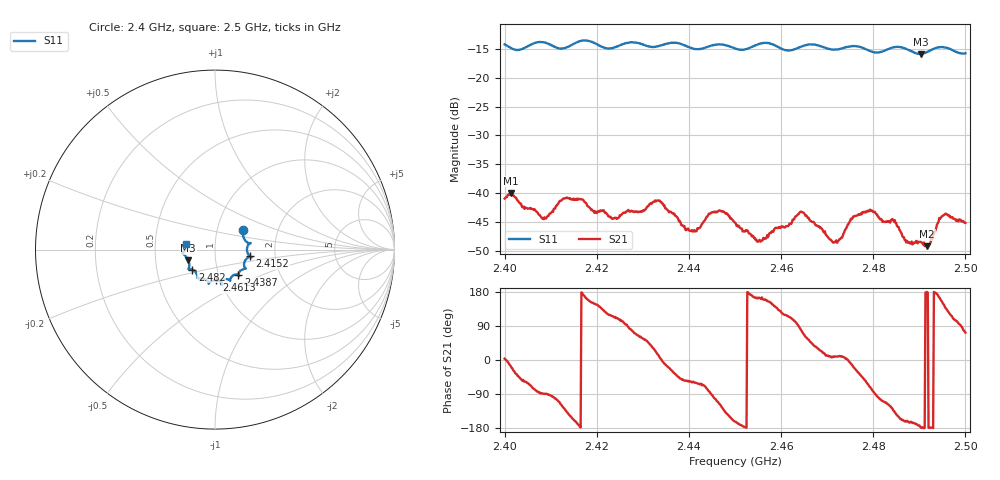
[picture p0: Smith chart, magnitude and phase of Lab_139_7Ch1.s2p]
# Hz S RI R 50
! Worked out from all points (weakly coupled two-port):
!   601 points, 2.4 GHz to 2.5 GHz, reference 50 ohm
!   highest |S21| = -39.95 dB at 2.4013 GHz (marker M1); lowest = -49.1 dB at 2.4917 GHz (marker M2)
!   lowest |S11| = -15.9 dB at 2.4903 GHz (marker M3), VSWR 1.38, Z = 36.8 - j4.45 ohm
!   |S11| at or under -10 dB: start of sweep to end of sweep
!   S12 and S22 are empty: the file has one direction only
!   S11 on the Smith chart (normalised r, x): 2.4 GHz: 1.33, +0.31; 2.4152 GHz: 1.47, -0.11; 2.4387 GHz: 1.24, -0.37; 2.4613 GHz: 0.96, -0.34; 2.482 GHz: 0.76, -0.17; 2.5 GHz: 0.72, +0.05
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2.4e9  0.158 0.1116  0.009 0.000544  0 0  0 0
2.401333e9  0.1557 0.0911  0.00966 -0.00279  0 0  0 0
2.4085e9  0.1981 0.0373  8.01e-05 -0.00598  0 0  0 0
2.415167e9  0.1935 -0.0375  -0.00824 -0.00298  0 0  0 0
2.416667e9  0.2032 -0.0436  -0.00885 0.00024  0 0  0 0
2.423833e9  0.1617 -0.0828  -0.00235 0.00568  0 0  0 0
2.433333e9  0.1323 -0.1316  0.00843 0.00202  0 0  0 0
2.438667e9  0.1304 -0.1417  0.00332 -0.00412  0 0  0 0
2.446833e9  0.0845 -0.1739  -0.00338 -0.0062  0 0  0 0
2.45e9  0.0691 -0.1647  -0.00531 -0.00169  0 0  0 0
2.455333e9  0.0348 -0.1926  -0.00381 0.00111  0 0  0 0
2.461333e9  0.00767 -0.1713  -0.00228 0.00468  0 0  0 0
2.464333e9  -0.0299 -0.1825  0.00127 0.00685  0 0  0 0
2.466667e9  -0.0348 -0.1903  0.00409 0.00394  0 0  0 0
2.471667e9  -0.0623 -0.1626  0.00373 0.000597  0 0  0 0
2.476167e9  -0.096 -0.1601  0.00579 -0.00269  0 0  0 0
2.482e9  -0.1257 -0.1113  -0.00177 -0.00539  0 0  0 0
2.483333e9  -0.1395 -0.1084  -0.00263 -0.00501  0 0  0 0
2.490333e9  -0.1488 -0.0589  -0.00379 -9.79e-05  0 0  0 0
2.491667e9  -0.1612 -0.0399  -0.0035 2.07e-05  0 0  0 0
2.495333e9  -0.1816 -0.0195  -0.00541 0.00363  0 0  0 0
2.5e9  -0.1589 0.0321  0.00167 0.0053  0 0  0 0
